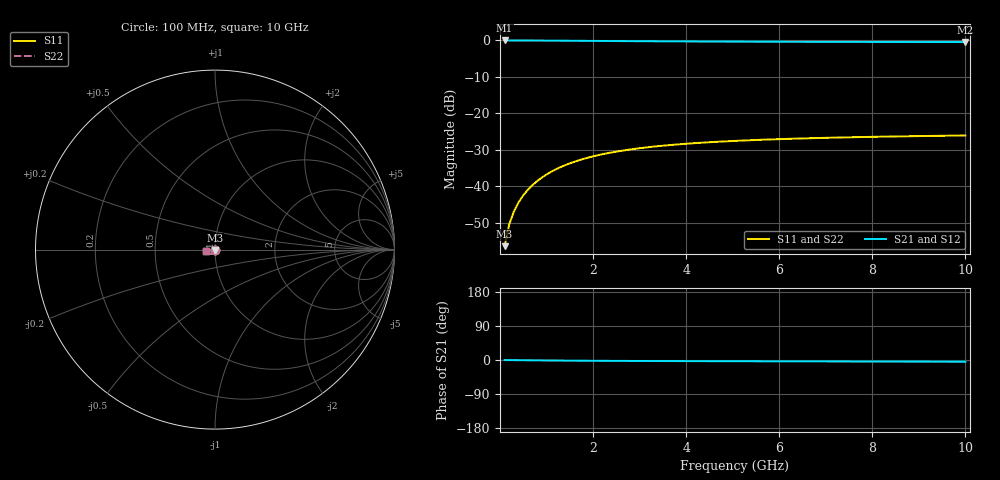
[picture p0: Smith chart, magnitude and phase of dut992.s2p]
! Touchstone file exported from HFSS 2024.1.0
!  File:  C:/UserFiles/LocalFiles/RDL_TSV_Batchsim/temp_TSV1_992_1779952836.aedt
!  Generated:  03:25:53 PM May 28, 2026
!  Design:  TSV1
!  Project:  temp_TSV1_992_1779952836
!  Setup:  Setup1
!  Solution:  Sweep
! Variables:
!  dtsv = 14.44um
!  hbump = 3um
!  htsv = 67.48um
!  lrdl = 252.1521522um
!  p = 40
!  p1 = 53.81um
!  t = 500um
!  trdl = 3um
!  wrdl = 24.89489489um
# GHz S MA R 50.000000
! Terminal data exported
! Port[1] = TSV22_T1
! Port[2] = TSV22_T2
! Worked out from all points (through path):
!   100 points, 100 MHz to 10 GHz, reference 50 ohm
!   highest |S21| = 0.00 dB at 100 MHz (marker M1); lowest = -0.4 dB at 10 GHz (marker M2)
!   lowest |S11| = -56.4 dB at 100 MHz (marker M3), VSWR 1.00, Z = 50 - j0.152 ohm
!   |S11| at or under -10 dB: start of sweep to end of sweep
!   |S22| runs from -56.4 to -26.1 dB; largest |S21 - S12| = 5.7e-15
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0.1  0.001517 -89.1  0.9999 -0.1  0.9999 -0.1  0.001517 -89.1
! Gamma 0 0 0 0
! Port Impedance 50 0 50 0
0.2  0.003032 -92.1  0.9997 -0.3  0.9997 -0.3  0.003032 -92.1
0.3  0.004544 -94.4  0.9994 -0.4  0.9994 -0.4  0.004544 -94.4
0.4  0.006047 -96.4  0.9991 -0.5  0.9991 -0.5  0.006047 -96.4
0.5  0.007533 -98.4  0.9986 -0.6  0.9986 -0.6  0.007533 -98.4
0.6  0.008997 -100.3  0.9981 -0.7  0.9981 -0.7  0.008997 -100.3
0.7  0.01043 -102.2  0.9975 -0.9  0.9975 -0.9  0.01043 -102.2
0.8  0.01184 -104.0  0.9969 -1.0  0.9969 -1.0  0.01184 -104.0
0.9  0.01322 -105.8  0.9961 -1.1  0.9961 -1.1  0.01322 -105.8
1.1  0.01586 -109.3  0.9945 -1.3  0.9945 -1.3  0.01586 -109.3
1.4  0.01953 -114.1  0.9918 -1.6  0.9918 -1.6  0.01953 -114.1
1.6  0.02178 -117.1  0.9899 -1.7  0.9899 -1.7  0.02178 -117.1
1.8  0.02386 -120.0  0.9879 -1.9  0.9879 -1.9  0.02386 -120.0
2.1  0.02669 -124.0  0.985 -2.1  0.985 -2.1  0.02669 -124.0
2.5  0.02996 -128.8  0.9812 -2.3  0.9812 -2.3  0.02996 -128.8
2.9  0.03272 -133.0  0.9777 -2.5  0.9777 -2.5  0.03272 -133.0
3.4  0.0356 -137.6  0.9737 -2.7  0.9737 -2.7  0.0356 -137.6
4.2  0.03919 -143.8  0.9684 -3.0  0.9684 -3.0  0.03919 -143.8
5.1  0.04217 -149.4  0.9637 -3.3  0.9637 -3.3  0.04217 -149.4
6.7  0.04578 -157.1  0.9577 -3.7  0.9577 -3.7  0.04578 -157.1
8.4  0.04824 -163.3  0.9534 -4.1  0.9534 -4.1  0.04824 -163.3
10  0.04982 -168.0  0.9507 -4.5  0.9507 -4.5  0.04982 -168.0
